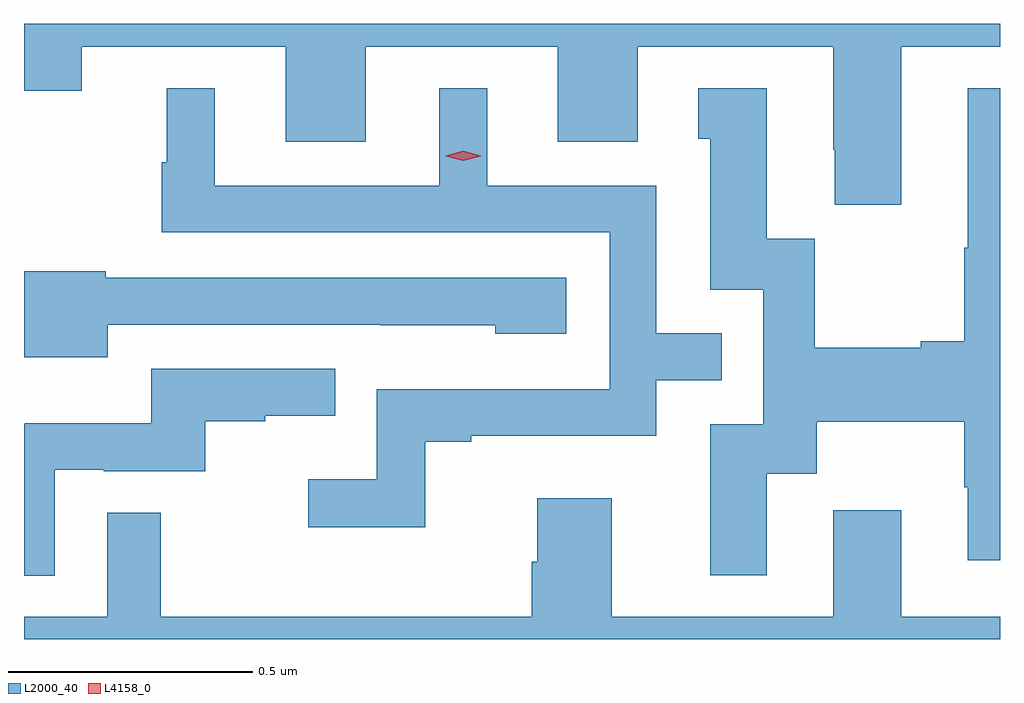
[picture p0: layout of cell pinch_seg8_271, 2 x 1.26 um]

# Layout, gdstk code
import gdstk
lib = gdstk.Library(unit=1e-6, precision=1e-09)
def P(c, l, *ps):  # polygons
    for p in ps: c.add(gdstk.Polygon(p, *l))
L2000_40 = (2000, 40)
L4158_0 = (4158, 0)

pinch_seg8_271 = lib.new_cell('pinch_seg8_271')
P(pinch_seg8_271, L2000_40, [(546.091,1164.452),(546.293,1164.452),(546.293,1164.5),(544.293,1164.5),(544.293,1164.362),(544.411,1164.362),(544.411,1164.452),(544.829,1164.452),(544.829,1164.258),(544.993,1164.258),(544.993,1164.452),(545.387,1164.452),(545.387,1164.258),(545.551,1164.258),(545.551,1164.452),(545.951,1164.452),(545.951,1164.241),(545.954,1164.241),(545.954,1164.129),(546.091,1164.129)],
  [(545.815,1163.578),(545.917,1163.578),(545.917,1163.684),(546.22,1163.684),(546.22,1163.55),(546.227,1163.55),(546.227,1163.4),(546.293,1163.4),(546.293,1164.367),(546.227,1164.367),(546.227,1164.041),(546.22,1164.041),(546.22,1163.849),(546.131,1163.849),(546.131,1163.836),(545.913,1163.836),(545.913,1164.059),(545.815,1164.059),(545.815,1164.367),(545.675,1164.367),(545.675,1164.264),(545.699,1164.264),(545.699,1163.955),(545.808,1163.955),(545.808,1163.679),(545.699,1163.679),(545.699,1163.37),(545.815,1163.37)],
  [(545.115,1163.643),(545.209,1163.643),(545.209,1163.655),(545.589,1163.655),(545.589,1163.769),(545.723,1163.769),(545.723,1163.865),(545.589,1163.865),(545.589,1164.168),(545.242,1164.168),(545.242,1164.367),(545.144,1164.367),(545.144,1164.168),(544.684,1164.168),(544.684,1164.367),(544.586,1164.367),(544.586,1164.216),(544.575,1164.216),(544.575,1164.072),(545.493,1164.072),(545.493,1163.751),(545.016,1163.751),(545.016,1163.566),(544.875,1163.566),(544.875,1163.468),(545.115,1163.468)],
  [(544.465,1163.883),(545.023,1163.883),(545.023,1163.882),(545.259,1163.882),(545.259,1163.864),(545.404,1163.864),(545.404,1163.979),(544.461,1163.979),(544.461,1163.992),(544.293,1163.992),(544.293,1163.816),(544.465,1163.816)],
  [(544.356,1163.586),(544.456,1163.586),(544.456,1163.583),(544.664,1163.583),(544.664,1163.685),(544.787,1163.685),(544.787,1163.696),(544.931,1163.696),(544.931,1163.793),(544.554,1163.793),(544.554,1163.681),(544.295,1163.681),(544.293,1163.679),(544.293,1163.369),(544.356,1163.369)],
  [(546.293,1163.284),(546.091,1163.284),(546.091,1163.503),(545.951,1163.503),(545.951,1163.284),(545.497,1163.284),(545.497,1163.527),(545.345,1163.527),(545.345,1163.397),(545.333,1163.397),(545.333,1163.284),(544.573,1163.284),(544.573,1163.498),(544.464,1163.498),(544.464,1163.284),(544.293,1163.284),(544.293,1163.238),(546.293,1163.238)])
P(pinch_seg8_271, L4158_0, [(545.193,1164.219),(545.157,1164.228),(545.157,1164.229),(545.157,1164.229),(545.193,1164.239),(545.229,1164.229),(545.229,1164.229),(545.229,1164.228)])

lib.write_gds('pinch_seg8_271.gds')
